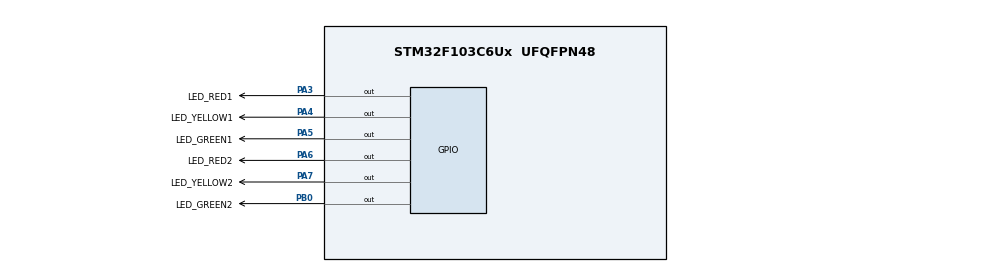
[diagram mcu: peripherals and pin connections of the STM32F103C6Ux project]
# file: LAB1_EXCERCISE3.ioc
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Mcu.Family=STM32F1
Mcu.Name=STM32F103C6Ux
Mcu.Package=UFQFPN48
NVIC.PriorityGroup=NVIC_PRIORITYGROUP_4
PA3.GPIO_Label=LED_RED1
PA3.Signal=GPIO_Output
PA4.GPIO_Label=LED_YELLOW1
PA4.Signal=GPIO_Output
PA5.GPIO_Label=LED_GREEN1
PA5.Signal=GPIO_Output
PA6.GPIO_Label=LED_RED2
PA6.Signal=GPIO_Output
PA7.GPIO_Label=LED_YELLOW2
PA7.Signal=GPIO_Output
PB0.GPIO_Label=LED_GREEN2
PB0.Signal=GPIO_Output
ProjectManager.HeapSize=0x200
ProjectManager.StackSize=0x400
ProjectManager.TargetToolchain=STM32CubeIDE
RCC.APB1Freq_Value=8000000
RCC.APB2Freq_Value=8000000
VP_SYS_VS_ND.Mode=No_Debug
board=custom

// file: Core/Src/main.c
/* USER CODE BEGIN Header */
/**
  ******************************************************************************
  * @file           : main.c
  * @brief          : Main program body
  ******************************************************************************
  * @attention
  *
  * <h2><center>&copy; Copyright (c) 2025 STMicroelectronics.
  * All rights reserved.</center></h2>
  *
  * This software component is licensed by ST under BSD 3-Clause license,
  * the "License"; You may not use this file except in compliance with the
  * License. You may obtain a copy of the License at:
  *                        opensource.org/licenses/BSD-3-Clause
  *
  ******************************************************************************
  */
/* USER CODE END Header */
#include "main.h"

void SystemClock_Config(void);
static void MX_GPIO_Init(void);

int main(void)
{

  /* MCU Configuration--------------------------------------------------------*/

  /* Reset of all peripherals, Initializes the Flash interface and the Systick. */
  HAL_Init();

  /* Configure the system clock */
  SystemClock_Config();

  /* Initialize all configured peripherals */
  MX_GPIO_Init();

  /* Infinite loop */
  /* USER CODE BEGIN WHILE */
  int count = 0;
  int STATE = 1;
  int STATE1 = 1;
  while (1)
  {
	  if (count >= 10) count = 0;
		  if (count < 5) STATE = 1;
		  else if ( count <8) STATE = 3;
		  else if ( count < 10) STATE = 2;
		  switch (STATE){
			  case(1): // Do - 1
			   HAL_GPIO_WritePin(LED_RED1_GPIO_Port, LED_RED1_Pin, SET);
			   HAL_GPIO_WritePin(LED_YELLOW1_GPIO_Port, LED_YELLOW1_Pin, RESET);
			   HAL_GPIO_WritePin(LED_GREEN1_GPIO_Port, LED_GREEN1_Pin, RESET);
			   break;
			  case(2): // Vang - 2
			   HAL_GPIO_WritePin(LED_RED1_GPIO_Port, LED_RED1_Pin, RESET);
			   HAL_GPIO_WritePin(LED_YELLOW1_GPIO_Port, LED_YELLOW1_Pin, SET);
			   HAL_GPIO_WritePin(LED_GREEN1_GPIO_Port, LED_GREEN1_Pin, RESET);
			   break;
			  default:// Xanh - 3
			   HAL_GPIO_WritePin(LED_RED1_GPIO_Port, LED_RED1_Pin, RESET);
			   HAL_GPIO_WritePin(LED_YELLOW1_GPIO_Port, LED_YELLOW1_Pin, RESET);
			   HAL_GPIO_WritePin(LED_GREEN1_GPIO_Port, LED_GREEN1_Pin, SET);
			   break;
		  }
		  if (count < 3) STATE1 = 3; // Xanh
		  else if ( count <5) STATE1 = 2; // Vang
		  else if ( count < 10) STATE1 = 1; // Do
		  switch (STATE1){
			  case(1): // Do - 1
			   HAL_GPIO_WritePin(LED_RED2_GPIO_Port, LED_RED2_Pin, SET);
			   HAL_GPIO_WritePin(LED_YELLOW2_GPIO_Port, LED_YELLOW2_Pin, RESET);
			   HAL_GPIO_WritePin(LED_GREEN2_GPIO_Port, LED_GREEN2_Pin, RESET);
			   break;
			  case(2): // Vang - 2
			   HAL_GPIO_WritePin(LED_RED2_GPIO_Port, LED_RED2_Pin, RESET);
			   HAL_GPIO_WritePin(LED_YELLOW2_GPIO_Port, LED_YELLOW2_Pin, SET);
			   HAL_GPIO_WritePin(LED_GREEN2_GPIO_Port, LED_GREEN2_Pin, RESET);
			   break;
			  default:// Xanh - 3
			   HAL_GPIO_WritePin(LED_RED2_GPIO_Port, LED_RED2_Pin, RESET);
			   HAL_GPIO_WritePin(LED_YELLOW2_GPIO_Port, LED_YELLOW2_Pin, RESET);
			   HAL_GPIO_WritePin(LED_GREEN2_GPIO_Port, LED_GREEN2_Pin, SET);
			   break;
		  }
		  count++;
		  HAL_Delay(1000);
    /* USER CODE END WHILE */

  }
}

void SystemClock_Config(void)
{
  RCC_OscInitTypeDef RCC_OscInitStruct = {0};
  RCC_ClkInitTypeDef RCC_ClkInitStruct = {0};

  /** Initializes the RCC Oscillators according to the specified parameters
  * in the RCC_OscInitTypeDef structure.
  */
  RCC_OscInitStruct.OscillatorType = RCC_OSCILLATORTYPE_HSI;
  RCC_OscInitStruct.HSIState = RCC_HSI_ON;
  RCC_OscInitStruct.HSICalibrationValue = RCC_HSICALIBRATION_DEFAULT;
  RCC_OscInitStruct.PLL.PLLState = RCC_PLL_NONE;
  if (HAL_RCC_OscConfig(&RCC_OscInitStruct) != HAL_OK)
  {
    Error_Handler();
  }
  /** Initializes the CPU, AHB and APB buses clocks
  */
  RCC_ClkInitStruct.ClockType = RCC_CLOCKTYPE_HCLK|RCC_CLOCKTYPE_SYSCLK
                              |RCC_CLOCKTYPE_PCLK1|RCC_CLOCKTYPE_PCLK2;
  RCC_ClkInitStruct.SYSCLKSource = RCC_SYSCLKSOURCE_HSI;
  RCC_ClkInitStruct.AHBCLKDivider = RCC_SYSCLK_DIV1;
  RCC_ClkInitStruct.APB1CLKDivider = RCC_HCLK_DIV1;
  RCC_ClkInitStruct.APB2CLKDivider = RCC_HCLK_DIV1;

  if (HAL_RCC_ClockConfig(&RCC_ClkInitStruct, FLASH_LATENCY_0) != HAL_OK)
  {
    Error_Handler();
  }
}

static void MX_GPIO_Init(void)
{
  GPIO_InitTypeDef GPIO_InitStruct = {0};

  /* GPIO Ports Clock Enable */
  __HAL_RCC_GPIOA_CLK_ENABLE();
  __HAL_RCC_GPIOB_CLK_ENABLE();

  /*Configure GPIO pin Output Level */
  HAL_GPIO_WritePin(GPIOA, LED_RED1_Pin|LED_YELLOW1_Pin|LED_GREEN1_Pin|LED_RED2_Pin
                          |LED_YELLOW2_Pin, GPIO_PIN_RESET);

  /*Configure GPIO pin Output Level */
  HAL_GPIO_WritePin(LED_GREEN2_GPIO_Port, LED_GREEN2_Pin, GPIO_PIN_RESET);

  /*Configure GPIO pins : LED_RED1_Pin LED_YELLOW1_Pin LED_GREEN1_Pin LED_RED2_Pin
                           LED_YELLOW2_Pin */
  GPIO_InitStruct.Pin = LED_RED1_Pin|LED_YELLOW1_Pin|LED_GREEN1_Pin|LED_RED2_Pin
                          |LED_YELLOW2_Pin;
  GPIO_InitStruct.Mode = GPIO_MODE_OUTPUT_PP;
  GPIO_InitStruct.Pull = GPIO_NOPULL;
  GPIO_InitStruct.Speed = GPIO_SPEED_FREQ_LOW;
  HAL_GPIO_Init(GPIOA, &GPIO_InitStruct);

  /*Configure GPIO pin : LED_GREEN2_Pin */
  GPIO_InitStruct.Pin = LED_GREEN2_Pin;
  GPIO_InitStruct.Mode = GPIO_MODE_OUTPUT_PP;
  GPIO_InitStruct.Pull = GPIO_NOPULL;
  GPIO_InitStruct.Speed = GPIO_SPEED_FREQ_LOW;
  HAL_GPIO_Init(LED_GREEN2_GPIO_Port, &GPIO_InitStruct);

}

void Error_Handler(void)
{
  __disable_irq();
  while (1)
  {
  }
}

/************************ (C) COPYRIGHT STMicroelectronics *****END OF FILE****/
